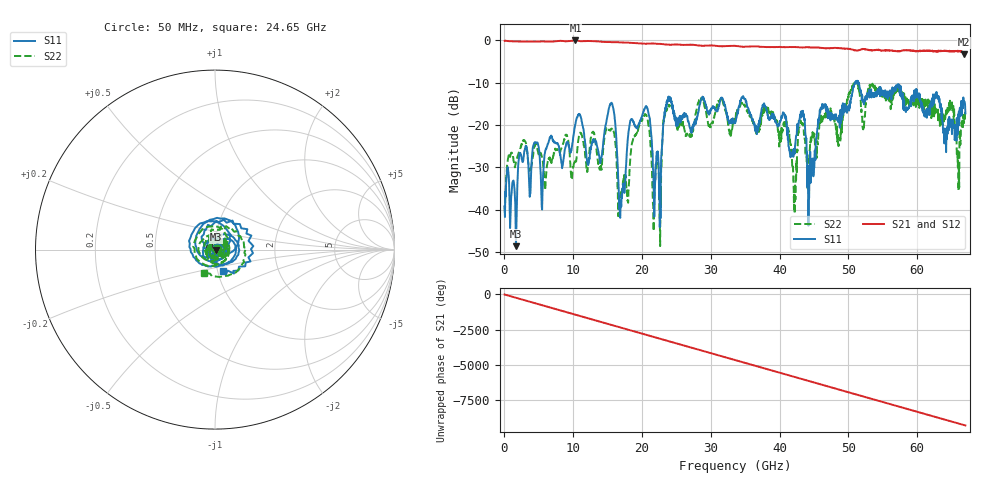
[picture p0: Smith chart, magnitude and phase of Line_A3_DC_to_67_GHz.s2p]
#  HZ  S  MA  R  50.00
! Rohde & Schwarz ZVA67 4Ports - Version 4.11 - 1305.7002k04 SN: 101051
! Date: 2023-05-31 14:25:27
! Measurements: S11 S21 S12 S22
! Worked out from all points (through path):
!   1340 points, 50 MHz to 67 GHz, reference 50 ohm
!   highest |S21| = 0.00 dB at 10.35 GHz (marker M1); lowest = -3.3 dB at 66.85 GHz (marker M2)
!   group delay of S21, straight-line fit = 385 ps
!   lowest |S11| = -48.7 dB at 1.7 GHz (marker M3), VSWR 1.01, Z = 50.4 + j0.0345 ohm
!   |S11| at or under -10 dB: start of sweep to 50.98 GHz; 51.02939 GHz to 51.06064 GHz (31.25 MHz wide, 0.0612 % of centre); 51.51 GHz to end of sweep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
!   |S22| runs from -48.6 to -9.7 dB; largest |S21 - S12| = 0.29
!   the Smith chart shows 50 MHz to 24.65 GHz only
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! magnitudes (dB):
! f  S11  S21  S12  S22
! 50 MHz  -39.2  -0.1  -0.1  -39.1
! 1.7 GHz  -48.7  -0.2  -0.2  -28.6
! 10.35 GHz  -19.8  0.0  0.0  -28.6
! 11.25 GHz  -19.2  -0.2  -0.1  -22.3
! 14 GHz  -27.9  -0.3  -0.3  -30.4
! 15.65 GHz  -15.0  -0.4  -0.4  -20.9
! 16.95 GHz  -38.0  -0.5  -0.5  -35.9
! 18.3 GHz  -19.0  -0.6  -0.6  -28.1
! 20.65 GHz  -15.8  -0.8  -0.8  -17.7
! 22.4 GHz  -28.5  -0.8  -0.8  -30.1
! 23.9 GHz  -13.3  -1.0  -1.0  -15.2
! 33.55 GHz  -19.6  -1.3  -1.3  -18.1
! 40.9 GHz  -18.6  -1.6  -1.6  -19.6
! 42.2 GHz  -26.8  -1.6  -1.6  -41.0
! 43 GHz  -17.5  -1.6  -1.7  -20.0
! 44.7 GHz  -28.9  -1.7  -1.7  -22.4
! 46.25 GHz  -16.1  -1.8  -1.8  -19.3
! 55.85 GHz  -12.7  -2.3  -2.3  -14.6
! 64.95 GHz  -19.6  -2.5  -2.4  -15.2
! 66 GHz  -20.2  -2.5  -2.5  -35.5
! 66.85 GHz  -14.4  -3.3  -3.3  -17.8
! 67 GHz  -17.3  -3.0  -3.0  -17.6
